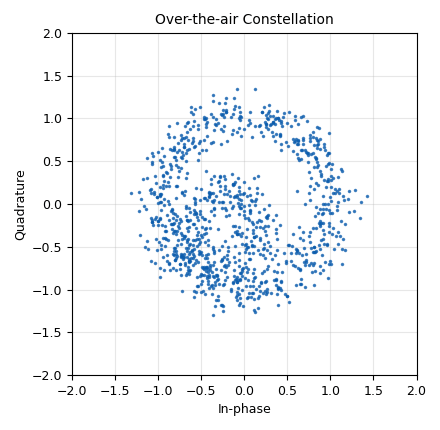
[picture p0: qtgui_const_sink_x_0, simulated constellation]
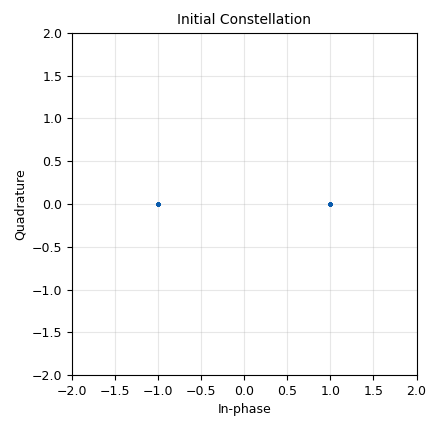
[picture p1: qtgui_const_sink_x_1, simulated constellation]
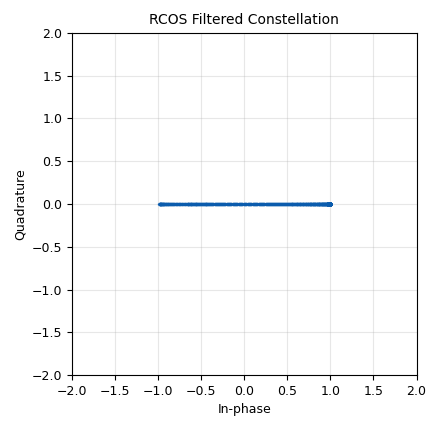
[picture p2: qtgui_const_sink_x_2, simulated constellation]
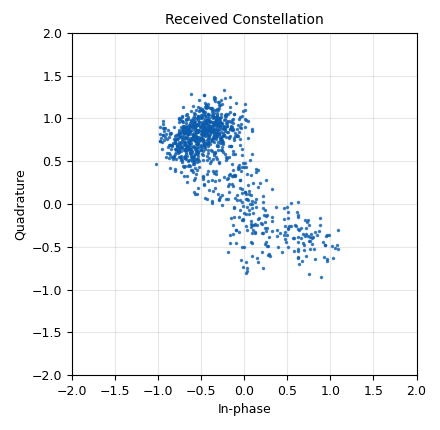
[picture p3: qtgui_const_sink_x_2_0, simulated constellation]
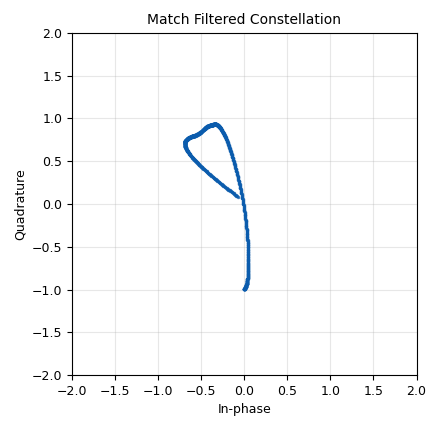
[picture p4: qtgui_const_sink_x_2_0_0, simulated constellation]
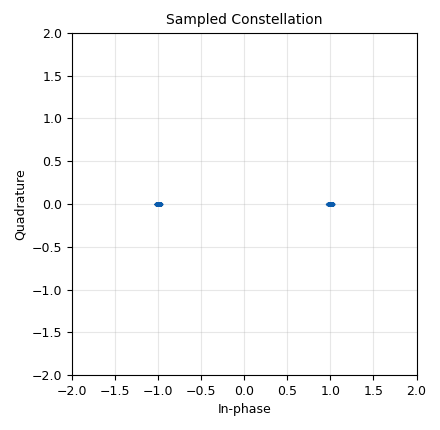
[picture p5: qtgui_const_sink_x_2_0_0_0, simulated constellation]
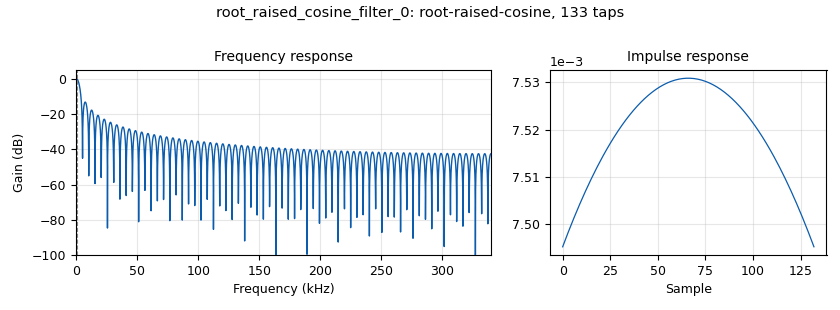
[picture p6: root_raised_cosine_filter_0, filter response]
options:
  parameters:
    generate_options: qt_gui
    id: example_tx_rx
    output_language: python
    title: Not titled yet
  states: {}

blocks:
- name: bpsk_constellation
  id: variable_constellation
  parameters:
    precision: '8'
    soft_dec_lut: '''auto'''
    type: bpsk
  states: {}
- name: carrier_frequency
  id: variable
  parameters:
    value: '2000'
  states: {}
- name: samp_rate
  id: variable
  parameters:
    value: '680000'
  states: {}
- name: samples_per_bit
  id: variable
  parameters:
    value: '1700'
  states: {}
- name: blocks_freqshift_cc_0
  id: blocks_freqshift_cc
  parameters:
    comment: |-
      For illustrative purposes, let's say that our carrier
      frequency is 2000Hz. This is what the signal will look like
      "in the air" with noise.
    freq: carrier_frequency
    sample_rate: samp_rate
  states: {}
- name: blocks_freqshift_cc_1
  id: blocks_freqshift_cc
  parameters:
    comment: |-
      This simulates an imperfect receiver that
      doesn't have the LO perfectly tuned to that
      of the transmitter. We transmit at a carrier of
      2000Hz, but for whatever reasons our receiver
      may be off by 100Hz (or any other arbitrary number). 
      Notice in the plot that the constellation is 
      rotating -- this means there's a frequency offset
    freq: '-1 * carrier_frequency + 100'
    sample_rate: samp_rate
  states: {}
- name: blocks_message_debug_0
  id: blocks_message_debug
  parameters: {}
  states: {}
- name: blocks_repack_bits_bb_1
  id: blocks_repack_bits_bb
  parameters:
    endianness: gr.GR_MSB_FIRST
    k: '1'
    l: '8'
    len_tag_key: '"packet_len"'
  states: {}
- name: blocks_repeat_0
  id: blocks_repeat
  parameters:
    comment: |-
      We repeat this by samples_per_bit/2
      to get rectangular BPSK.
      (We divide by 2 since manchester encoded
      BPSK has half the data rate of regular BPSK)
    interp: int(samples_per_bit/2)
    type: complex
  states: {}
- name: blocks_stream_to_tagged_stream_0
  id: blocks_stream_to_tagged_stream
  parameters:
    len_tag_key: '"packet_len"'
    packet_len: '144'
    type: byte
  states: {}
- name: blocks_tag_debug_0
  id: blocks_tag_debug
  parameters:
    filter: '"packet_len"'
    name: '"tag_debug_2"'
    type: byte
  states: {}
- name: blocks_tag_debug_0_0
  id: blocks_tag_debug
  parameters:
    filter: '"packet_len"'
    name: '"tag_debug_1"'
    type: byte
  states: {}
- name: blocks_tagged_stream_align_0
  id: blocks_tagged_stream_align
  parameters:
    lengthtagname: '"packet_len"'
    type: byte
  states: {}
- name: blocks_throttle2_0
  id: blocks_throttle2
  parameters:
    samples_per_second: samp_rate
    type: complex
  states: {}
- name: blocks_vector_source_x_0
  id: blocks_vector_source_x
  parameters:
    comment: |-
      This is our initial symbol source. The 
      bit sequence is (1, 0, 0) repeating, so the
      manchester encoded bits are
      (1, -1, -1, 1, -1, 1) repeating.
    repeat: 'True'
    type: complex
    vector: (1, -1, 1, -1, 1, -1, 1, -1, 1, -1, 1, -1, 1, -1, 1, -1, 1, -1, 1, -1, 1, -1, 1, -1, 1, -1, 1, -1, 1, -1, -1, 1, -1, 1, -1, 1, 1, -1, -1, 1, 1, -1, 1, -1, 1, -1, 1, -1, 1, -1, -1, 1, -1, 1, 1, -1, -1, 1, 1, -1, 1, -1, 1, -1, -1, 1, -1, 1, -1, 1, -1, 1, 1, -1, 1, -1, 1, -1, -1, 1, -1, 1, -1, 1, -1, 1, -1, 1, -1, 1, -1, 1, -1, 1, -1, 1, 1, -1, -1, 1, -1, 1, -1, 1, -1, 1, -1, 1, -1, 1, -1, 1, -1, 1, -1, 1, -1, 1, -1, 1, -1, 1, -1, 1, -1, 1, 1, -1, -1, 1, -1, 1, 1, -1, -1, 1, -1, 1, 1, -1, 1, -1, -1, 1, 1, -1, -1, 1, 1, -1, -1, 1, 1, -1, -1, 1, 1, -1, 1, -1, -1, 1, 1, -1, -1, 1, -1, 1, 1, -1, 1, -1, 1, -1, 1, -1, -1, 1, 1, -1, 1, -1, 1, -1, 1, -1, 1, -1, -1, 1, 1, -1, -1, 1, -1, 1, -1, 1, 1, -1, -1, 1, -1, 1, -1, 1, -1, 1, -1, 1, 1, -1, 1, -1, 1, -1, -1, 1, 1, -1, 1, -1, -1, 1, 1, -1, -1, 1, -1, 1, 1, -1, 1, -1, 1, -1, -1, 1, 1, -1, 1, -1, 1, -1, -1, 1, -1, 1, -1, 1, -1, 1, 1, -1, 1, -1, 1, -1, 1, -1, -1, 1, 1, -1, 1, -1, -1, 1, 1, -1, 1, -1, -1, 1, 1, -1, -1, 1, -1, 1, 1, -1, -1, 1, -1, 1, 1, -1,)
  states: {}
- name: channels_channel_model_0
  id: channels_channel_model
  parameters:
    epsilon: '1.0'
    freq_offset: '0.0'
    noise_voltage: '0.2'
    seed: '0'
    taps: '1.0'
  states: {}
- name: decoder
  id: virtual_sink
  parameters:
    stream_id: decoder
  states: {}
- name: decoder1
  id: virtual_source
  parameters:
    stream_id: decoder
  states: {}
- name: digital_constellation_decoder_cb_0
  id: digital_constellation_decoder_cb
  parameters:
    constellation: digital.constellation_bpsk().base()
  states: {}
- name: digital_correlate_access_code_tag_xx_0
  id: digital_correlate_access_code_tag_xx
  parameters:
    access_code: '101010011001010101'
    tagname: '"packet_len"'
    threshold: '0'
    type: byte
  states: {}
- name: digital_costas_loop_cc_0
  id: digital_costas_loop_cc
  parameters:
    comment: |-
      This is our costas loop that corrects the frequency offset
      coming from the imperfect receiver. This looks very
      close to our original signal now! All we need to do now
      is to sample the signal at the correct times
      in order to recover the symbols.
    order: '2'
    w: '.150'
  states: {}
- name: digital_symbol_sync_xx_0
  id: digital_symbol_sync_xx
  parameters:
    comment: |-
      Our symbol synchronization figures out the timing
      to sample the signal. After this samples the signal, you can
      see that we get back the original repeating
      [1, -1, -1, 1, -1, 1] sequence! However, we still need to convert
      the Manchester encoded symbols back into 1's and 0's.
    damping: '1.0'
    loop_bw: '0.045'
    max_dev: '1.5'
    osps: '1'
    resamp_type: digital.IR_MMSE_8TAP
    sps: samples_per_bit/2
    ted_gain: '1.0'
    ted_type: digital.TED_GARDNER
    type: cc
  states: {}
- name: pdu_pdu_to_tagged_stream_0
  id: pdu_pdu_to_tagged_stream
  parameters:
    tag: packet_len
    type: byte
  states: {}
- name: pdu_tagged_stream_to_pdu_0_0
  id: pdu_tagged_stream_to_pdu
  parameters:
    tag: packet_len
    type: byte
  states: {}
- name: pdu_tagged_stream_to_pdu_0_0_0
  id: pdu_tagged_stream_to_pdu
  parameters:
    tag: packet_len
    type: byte
  states: {}
- name: qtgui_const_sink_x_0
  id: qtgui_const_sink_x
  parameters:
    gui_hint: 2,1,1,1
    name: '"Over-the-air Constellation"'
    size: '1024'
    type: complex
  states: {}
- name: qtgui_const_sink_x_1
  id: qtgui_const_sink_x
  parameters:
    gui_hint: 0,1,1,1
    name: '"Initial Constellation"'
    size: '1024'
    type: complex
  states: {}
- name: qtgui_const_sink_x_2
  id: qtgui_const_sink_x
  parameters:
    gui_hint: 1,1,1,1
    name: '"RCOS Filtered Constellation"'
    size: '1024'
    type: complex
  states: {}
- name: qtgui_const_sink_x_2_0
  id: qtgui_const_sink_x
  parameters:
    gui_hint: 3,1,1,1
    name: '"Received Constellation"'
    size: '1024'
    type: complex
  states: {}
- name: qtgui_const_sink_x_2_0_0
  id: qtgui_const_sink_x
  parameters:
    gui_hint: 4,1,1,1
    name: '"Match Filtered Constellation"'
    size: '1024'
    type: complex
  states: {}
- name: qtgui_const_sink_x_2_0_0_0
  id: qtgui_const_sink_x
  parameters:
    gui_hint: 6,1,1,1
    name: '"Sampled Constellation"'
    size: '1024'
    type: complex
  states: {}
- name: qtgui_const_sink_x_2_0_0_0_0
  id: qtgui_const_sink_x
  parameters:
    gui_hint: 5,1,1,1
    name: '"Post Costas Loop Constellation"'
    size: '1024'
    type: complex
  states: {}
- name: qtgui_time_sink_x_0
  id: qtgui_time_sink_x
  parameters:
    gui_hint: 0,0,1,1
    name: '"Initial Rectangular Signal"'
    size: '8192'
    srate: samp_rate
    type: complex
  states: {}
- name: qtgui_time_sink_x_0_0
  id: qtgui_time_sink_x
  parameters:
    gui_hint: 1,0,1,1
    name: '"RCOS Filtered Signal"'
    size: '8192'
    srate: samp_rate
    type: complex
  states: {}
- name: qtgui_time_sink_x_0_0_0
  id: qtgui_time_sink_x
  parameters:
    gui_hint: 3,0,1,1
    name: '"Received Signal"'
    size: '8192'
    srate: samp_rate
    type: complex
  states: {}
- name: qtgui_time_sink_x_0_0_0_0
  id: qtgui_time_sink_x
  parameters:
    gui_hint: 4,0,1,1
    name: '"Match Filtered Signal"'
    size: '8192'
    srate: samp_rate
    type: complex
  states: {}
- name: qtgui_time_sink_x_1
  id: qtgui_time_sink_x
  parameters:
    gui_hint: 2,0,1,1
    name: '"Over-the-air Signal"'
    size: '4096'
    srate: samp_rate
    type: complex
  states: {}
- name: qtgui_time_sink_x_2
  id: qtgui_time_sink_x
  parameters:
    ctrlpanel: 'True'
    gui_hint: 6,0,1,1
    name: '"Sampled Manchester Symbols"'
    size: '16'
    srate: samp_rate
    type: complex
  states: {}
- name: qtgui_time_sink_x_2_0
  id: qtgui_time_sink_x
  parameters:
    gui_hint: 5,0,1,1
    name: '"Post Costas Loop Signal"'
    size: '8192'
    srate: samp_rate
    type: complex
  states: {}
- name: reveng_manchester_decode_0
  id: reveng_manchester_decode
  parameters:
    invert: 'False'
  states: {}
- name: root_raised_cosine_filter_0
  id: root_raised_cosine_filter
  parameters:
    alpha: '0.8'
    comment: |-
      Because perfectly rectangular BPSK is "impossible" to 
      fulfill in real conditions and causes very high frequency
      band edges, we apply a raised cosine filter. This limits
      the high frequency bands at the edges, limiting the
      bandwidth of our signal. This is achieved in 
      GNURadio by having two root raised cosine filters in
      series.
    decim: '1'
    gain: '1'
    ntaps: '132'
    samp_rate: samp_rate
    sym_rate: samp_rate/samples_per_bit
    type: fir_filter_ccf
  states: {}
- name: root_raised_cosine_filter_0_0
  id: root_raised_cosine_filter
  parameters:
    alpha: '0.8'
    comment: |-
      This is our matched filter. Notice how it's the same exact configuration as
      the initial rcos filter we applied at the beginning! The matched
      filter basically maximises the signal-to-noise ratio for us. While
      we may have fixed the noise issue, you can see that the constellation
      is still rotating, meaning there's still a frequency offset.
    decim: '1'
    gain: '1'
    ntaps: '132'
    samp_rate: samp_rate
    sym_rate: samp_rate/samples_per_bit
    type: fir_filter_ccf
  states: {}
- name: root_raised_cosine_filter_1
  id: root_raised_cosine_filter
  parameters:
    alpha: '0.8'
    decim: '1'
    gain: '1'
    ntaps: '132'
    samp_rate: samp_rate
    sym_rate: samp_rate/samples_per_bit
    type: fir_filter_ccf
  states: {}
- name: root_raised_cosine_filter_1_0
  id: root_raised_cosine_filter
  parameters:
    alpha: '0.8'
    decim: '1'
    gain: '1'
    ntaps: '132'
    samp_rate: samp_rate
    sym_rate: samp_rate/samples_per_bit
    type: fir_filter_ccf
  states: {}
- name: virtual_sink_0
  id: virtual_sink
  parameters:
    stream_id: received_signal
  states: {}
- name: virtual_sink_0_0
  id: virtual_sink
  parameters:
    stream_id: vsource
  states: {}
- name: virtual_source_0
  id: virtual_source
  parameters:
    comment: |-
      Think of this as the 
      PlutoSDR source
    stream_id: received_signal
  states: {}
- name: virtual_source_0_0
  id: virtual_source
  parameters:
    stream_id: vsource
  states: {}

connections:
- [blocks_freqshift_cc_0, '0', channels_channel_model_0, '0']
- [blocks_freqshift_cc_1, '0', qtgui_const_sink_x_2_0, '0']
- [blocks_freqshift_cc_1, '0', qtgui_time_sink_x_0_0_0, '0']
- [blocks_freqshift_cc_1, '0', root_raised_cosine_filter_0_0, '0']
- [blocks_repack_bits_bb_1, '0', pdu_tagged_stream_to_pdu_0_0, '0']
- [blocks_repeat_0, '0', qtgui_const_sink_x_1, '0']
- [blocks_repeat_0, '0', qtgui_time_sink_x_0, '0']
- [blocks_repeat_0, '0', root_raised_cosine_filter_0, '0']
- [blocks_stream_to_tagged_stream_0, '0', decoder, '0']
- [blocks_tagged_stream_align_0, '0', blocks_stream_to_tagged_stream_0, '0']
- [blocks_tagged_stream_align_0, '0', blocks_tag_debug_0, '0']
- [blocks_throttle2_0, '0', blocks_repeat_0, '0']
- [blocks_vector_source_x_0, '0', blocks_throttle2_0, '0']
- [channels_channel_model_0, '0', qtgui_const_sink_x_0, '0']
- [channels_channel_model_0, '0', qtgui_time_sink_x_1, '0']
- [channels_channel_model_0, '0', virtual_sink_0, '0']
- [decoder1, '0', pdu_tagged_stream_to_pdu_0_0_0, '0']
- [digital_constellation_decoder_cb_0, '0', digital_correlate_access_code_tag_xx_0, '0']
- [digital_correlate_access_code_tag_xx_0, '0', blocks_tag_debug_0_0, '0']
- [digital_correlate_access_code_tag_xx_0, '0', blocks_tagged_stream_align_0, '0']
- [digital_costas_loop_cc_0, '0', digital_symbol_sync_xx_0, '0']
- [digital_costas_loop_cc_0, '0', qtgui_const_sink_x_2_0_0_0_0, '0']
- [digital_costas_loop_cc_0, '0', qtgui_time_sink_x_2_0, '0']
- [digital_symbol_sync_xx_0, '0', qtgui_const_sink_x_2_0_0_0, '0']
- [digital_symbol_sync_xx_0, '0', qtgui_time_sink_x_2, '0']
- [digital_symbol_sync_xx_0, '0', virtual_sink_0_0, '0']
- [pdu_pdu_to_tagged_stream_0, '0', blocks_repack_bits_bb_1, '0']
- [pdu_tagged_stream_to_pdu_0_0, pdus, blocks_message_debug_0, print]
- [pdu_tagged_stream_to_pdu_0_0_0, pdus, reveng_manchester_decode_0, in]
- [reveng_manchester_decode_0, out, pdu_pdu_to_tagged_stream_0, pdus]
- [root_raised_cosine_filter_0, '0', root_raised_cosine_filter_1, '0']
- [root_raised_cosine_filter_0_0, '0', root_raised_cosine_filter_1_0, '0']
- [root_raised_cosine_filter_1, '0', blocks_freqshift_cc_0, '0']
- [root_raised_cosine_filter_1, '0', qtgui_const_sink_x_2, '0']
- [root_raised_cosine_filter_1, '0', qtgui_time_sink_x_0_0, '0']
- [root_raised_cosine_filter_1_0, '0', digital_costas_loop_cc_0, '0']
- [root_raised_cosine_filter_1_0, '0', qtgui_const_sink_x_2_0_0, '0']
- [root_raised_cosine_filter_1_0, '0', qtgui_time_sink_x_0_0_0_0, '0']
- [virtual_source_0, '0', blocks_freqshift_cc_1, '0']
- [virtual_source_0_0, '0', digital_constellation_decoder_cb_0, '0']

metadata:
  file_format: 1
  grc_version: 3.10.7.0
